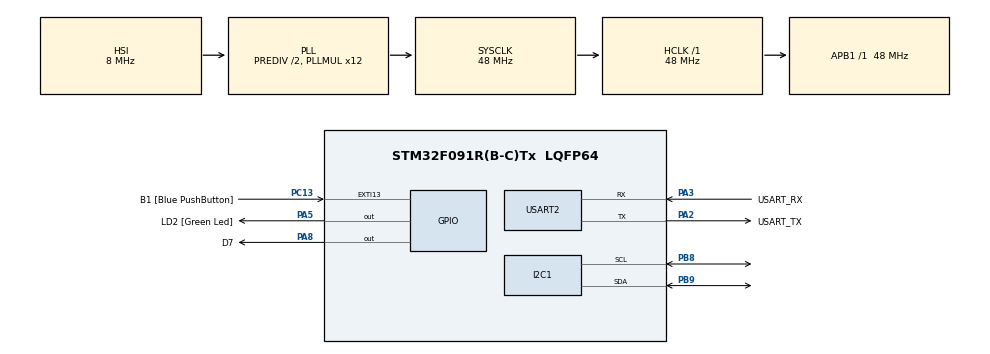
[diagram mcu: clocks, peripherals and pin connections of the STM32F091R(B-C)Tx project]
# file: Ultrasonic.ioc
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Mcu.Family=STM32F0
Mcu.Name=STM32F091R(B-C)Tx
Mcu.Package=LQFP64
PA13.GPIO_Label=TMS
PA13.Mode=Serial_Wire
PA13.Signal=SYS_SWDIO
PA14.GPIO_Label=TCK
PA14.Mode=Serial_Wire
PA14.Signal=SYS_SWCLK
PA2.GPIO_Label=USART_TX
PA2.GPIO_Mode=GPIO_MODE_AF_PP
PA2.GPIO_PuPd=GPIO_NOPULL
PA2.GPIO_Speed=GPIO_SPEED_FREQ_LOW
PA2.Mode=Asynchronous
PA2.Signal=USART2_TX
PA3.GPIO_Label=USART_RX
PA3.GPIO_Mode=GPIO_MODE_AF_PP
PA3.GPIO_PuPd=GPIO_NOPULL
PA3.GPIO_Speed=GPIO_SPEED_FREQ_LOW
PA3.Mode=Asynchronous
PA3.Signal=USART2_RX
PA5.GPIO_Label=LD2 [Green Led]
PA5.GPIO_Mode=GPIO_MODE_OUTPUT_PP
PA5.GPIO_PuPd=GPIO_NOPULL
PA5.GPIO_Speed=GPIO_SPEED_FREQ_LOW
PA5.Signal=GPIO_Output
PA8.GPIO_Label=D7
PA8.GPIO_ModeDefaultOutputPP=GPIO_MODE_OUTPUT_PP
PA8.Signal=GPIO_Output
PB8.Mode=I2C
PB8.Signal=I2C1_SCL
PB9.Mode=I2C
PB9.Signal=I2C1_SDA
PC13.GPIO_Label=B1 [Blue PushButton]
PC13.GPIO_ModeDefaultEXTI=GPIO_MODE_IT_FALLING
PC13.Signal=GPXTI13
PC14OSC32_IN.Mode=LSE-External-Oscillator
PC14OSC32_IN.Signal=RCC_OSC32_IN
PC15OSC32_OUT.Mode=LSE-External-Oscillator
PC15OSC32_OUT.Signal=RCC_OSC32_OUT
PF0-OSC_IN.Mode=HSE-External-Clock-Source
PF0-OSC_IN.Signal=RCC_OSC_IN
PF1-OSC_OUT.Signal=RCC_OSC_OUT
ProjectManager.HeapSize=0x200
ProjectManager.StackSize=0x400
ProjectManager.TargetToolchain=STM32CubeIDE
RCC.AHBFreq_Value=48000000
RCC.APB1Freq_Value=48000000
RCC.APB1TimFreq_Value=48000000
RCC.FLatency-AdvancedSettings=FLASH_LATENCY_1
RCC.HCLKFreq_Value=48000000
RCC.PLLDivider=RCC_PREDIV_DIV2
RCC.PLLMUL=RCC_PLL_MUL12
RCC.PREFETCH_ENABLE-AdvancedSettings=1
RCC.SYSCLKFreq_VALUE=48000000
RCC.SYSCLKSource=RCC_SYSCLKSOURCE_PLLCLK
TIM2.Prescaler=48-1
USART2.VirtualMode=VM_ASYNC
USART2.VirtualMode-Asynchronous=VM_ASYNC
VP_TIM2_VS_ClockSourceINT.Mode=Internal
board=NUCLEO-F091RC

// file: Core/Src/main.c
/* USER CODE BEGIN Header */
/**
  ******************************************************************************
  * @file           : main.c
  * @brief          : Main program body
  ******************************************************************************
  * @attention
  *
  * Copyright (c) 2024 STMicroelectronics.
  * All rights reserved.
  *
  * This software is licensed under terms that can be found in the LICENSE file
  * in the root directory of this software component.
  * If no LICENSE file comes with this software, it is provided AS-IS.
  *
  ******************************************************************************
  */
/* USER CODE END Header */
#include "main.h"
#include "i2c.h"
#include "tim.h"
#include "usart.h"
#include "gpio.h"

/* USER CODE BEGIN Includes */
#include <string.h>
#include <stdio.h>
#include "lib_lcd.h"
/* USER CODE END Includes */

/* USER CODE BEGIN PTD */
#define usTIM	TIM2 // timer pour cr er un delai en microsecondes
static rgb_lcd lcdData;
/* USER CODE END PTD */

/* USER CODE BEGIN PD */

void GPIO_INPUT(void)
{
	  GPIO_InitTypeDef GPIO_InitStruct = {0};
	  GPIO_InitStruct.Pin = LD2_Pin|GPIO_PIN_8;
	  GPIO_InitStruct.Mode = GPIO_MODE_INPUT;
	  GPIO_InitStruct.Pull = GPIO_NOPULL;
	  HAL_GPIO_Init(GPIOA, &GPIO_InitStruct);
}

uint32_t measureHighSignalDuration() {

	    uint32_t startTime = 0;
	    uint32_t endTime = 0;

	    // Attendre que le signal passe à l'état haut
	    while (HAL_GPIO_ReadPin(GPIOA, LD2_Pin|GPIO_PIN_8) == GPIO_PIN_RESET) {
	        // Mesurer le temps de début
	        startTime = TIM2->CNT;
	    }

	    // Attendre que le signal passe à l'état bas
	    while (HAL_GPIO_ReadPin(GPIOA, LD2_Pin|GPIO_PIN_8) == GPIO_PIN_SET) {
	        // Mesurer le temps de fin
	        endTime = TIM2->CNT;
	    }

	    // Calculer la durée de l'état haut en microsecondes
	    uint32_t duration = endTime - startTime;

	    return duration;
}

/* USER CODE END PD */

void SystemClock_Config(void);
/* USER CODE BEGIN PFP */

void usDelay(uint32_t uSec);  // d claration de la fonction qui permet d'avoir un delai en microsecondes

/* USER CODE END PFP */

/* USER CODE BEGIN 0 */
const float speedOfSound = 0.0340/2;   // vitesse du son
float distance; // variable ou stocker la distance

char uartBuf[100]; // buffer qui permet de transmettre au pc la distance calcul
char uartBuf1[100];
void configureInputSIGPin()
{
    GPIO_InitTypeDef GPIO_InitStruct = {0};
    GPIO_InitStruct.Pin = LD2_Pin|GPIO_PIN_8;
    GPIO_InitStruct.Mode = GPIO_MODE_INPUT; // Entrée
    GPIO_InitStruct.Pull = GPIO_NOPULL;
    HAL_GPIO_Init(GPIOA, &GPIO_InitStruct);
}

/* USER CODE END 0 */

int main(void)
{
  /* USER CODE BEGIN 1 */
  uint32_t numTicks = 0;  // variable utilise  pour calculer  le delai
  /* USER CODE END 1 */

  /* MCU Configuration--------------------------------------------------------*/

  /* Reset of all peripherals, Initializes the Flash interface and the Systick. */
  HAL_Init();

  /* Configure the system clock */
  SystemClock_Config();

  /* Initialize all configured peripherals */
  MX_GPIO_Init();
  MX_USART2_UART_Init();
  MX_I2C1_Init();
  MX_TIM2_Init();
  /* USER CODE BEGIN 2 */

    //DWT_Delay_Init();
    lcd_init(&hi2c1, &lcdData); // initialise le lcd
    lcd_position(&hi2c1,0,0);
    lcd_print(&hi2c1,"Bilna");
    reglagecouleur(0,0,255);
    HAL_Delay(3000);
    clearlcd();

  /* USER CODE END 2 */

  /* Infinite loop */
  while (1)
  {

    /* USER CODE BEGIN 3 */
	  HAL_Delay(1000);

	  	  //mettre le Trig a l' tat bas pendant 3us
	  	 	  		//HAL_GPIO_WritePin(TRIG_GPIO_Port, TRIG_Pin, GPIO_PIN_RESET);
	  	 	  		//usDelay(3);
	  	          MX_GPIO_Init();
	  	          HAL_GPIO_WritePin(TRIG_GPIO_Port, TRIG_Pin, GPIO_PIN_RESET);
	  	          usDelay(3);
	  	 	  		//*** commencer la mesure ***//
	  	 	  		//1. on maintien Trig   l' tat haut pendant 10us pour commencer le calcul
	  	 	  		HAL_GPIO_WritePin(TRIG_GPIO_Port, TRIG_Pin, GPIO_PIN_SET);
	  	 	  		usDelay(10);
	  	 	  		HAL_GPIO_WritePin(TRIG_GPIO_Port, TRIG_Pin, GPIO_PIN_RESET);

	  	 	  	    configureInputSIGPin();
	  	 	  	  //2. Attendre le front montant du pin Echo
	  	 	  	  	 	  		while(HAL_GPIO_ReadPin(TRIG_GPIO_Port, TRIG_Pin) == GPIO_PIN_RESET);

	  	 	  	  	 	  		//3. Commencer   mesurer la largeur d'impulsion Echo en usec
	  	 	  	  	 	  		numTicks = 0;
	  	 	  	  	 	  		while(HAL_GPIO_ReadPin(TRIG_GPIO_Port, TRIG_Pin) == GPIO_PIN_SET)
	  	 	  	  	 	  		{
	  	 	  	  	 	  			numTicks++;
	  	 	  	  	 	  			usDelay(2); //2.8us en vrai car la fonction utilis  ne donne pas exactement 2us
	  	 	  	  	 	  		};

	  	 	  	  	 	  		//4. calcule de la distance en cm
	  	 	  	  	 	  		distance = (numTicks + 0.0f)*2.8*speedOfSound+0.4;

	  	 	  	  	 	  		//5. transmettre la distance vers le pc pour l'afficher
	  	 	  	  	 	  		sprintf(uartBuf, "Dis  = %.1f ",  distance);
	  	 	  	  	 	        lcd_position(&hi2c1,0,0);
	  	 	  	  	 	   	    lcd_print(&hi2c1,uartBuf);

	  	 	  	          	   lcd_position(&hi2c1,14,0);
	  	 	  	          	   lcd_print(&hi2c1, "cm");
	  	 	  	  	           lcd_print(&hi2c1,uartBuf);

	  	 	  	  	 	  		HAL_UART_Transmit(&huart2, (uint8_t *)uartBuf, strlen(uartBuf), 100);

	  	 	  	  	 	  		//HAL_Delay(1000);

  /* USER CODE END 3 */
}

void SystemClock_Config(void)
{
  RCC_OscInitTypeDef RCC_OscInitStruct = {0};
  RCC_ClkInitTypeDef RCC_ClkInitStruct = {0};
  RCC_PeriphCLKInitTypeDef PeriphClkInit = {0};

  /** Initializes the RCC Oscillators according to the specified parameters
  * in the RCC_OscInitTypeDef structure.
  */
  RCC_OscInitStruct.OscillatorType = RCC_OSCILLATORTYPE_HSI;
  RCC_OscInitStruct.HSIState = RCC_HSI_ON;
  RCC_OscInitStruct.HSICalibrationValue = RCC_HSICALIBRATION_DEFAULT;
  RCC_OscInitStruct.PLL.PLLState = RCC_PLL_ON;
  RCC_OscInitStruct.PLL.PLLSource = RCC_PLLSOURCE_HSI;
  RCC_OscInitStruct.PLL.PLLMUL = RCC_PLL_MUL12;
  RCC_OscInitStruct.PLL.PREDIV = RCC_PREDIV_DIV2;
  if (HAL_RCC_OscConfig(&RCC_OscInitStruct) != HAL_OK)
  {
    Error_Handler();
  }

  /** Initializes the CPU, AHB and APB buses clocks
  */
  RCC_ClkInitStruct.ClockType = RCC_CLOCKTYPE_HCLK|RCC_CLOCKTYPE_SYSCLK
                              |RCC_CLOCKTYPE_PCLK1;
  RCC_ClkInitStruct.SYSCLKSource = RCC_SYSCLKSOURCE_PLLCLK;
  RCC_ClkInitStruct.AHBCLKDivider = RCC_SYSCLK_DIV1;
  RCC_ClkInitStruct.APB1CLKDivider = RCC_HCLK_DIV1;

  if (HAL_RCC_ClockConfig(&RCC_ClkInitStruct, FLASH_LATENCY_1) != HAL_OK)
  {
    Error_Handler();
  }
  PeriphClkInit.PeriphClockSelection = RCC_PERIPHCLK_USART2|RCC_PERIPHCLK_I2C1;
  PeriphClkInit.Usart2ClockSelection = RCC_USART2CLKSOURCE_PCLK1;
  PeriphClkInit.I2c1ClockSelection = RCC_I2C1CLKSOURCE_HSI;
  if (HAL_RCCEx_PeriphCLKConfig(&PeriphClkInit) != HAL_OK)
  {
    Error_Handler();
  }
}

/* USER CODE BEGIN 4 */
void usDelay(uint32_t uSec) // fonction qui nous sert a cr er un d lai en us
{
	if(uSec < 2) uSec = 2;
	usTIM->ARR = uSec - 1; 	/*sets the value in the auto-reload register*/
	usTIM->EGR = 1; 			/*Re-initialises the timer*/
	usTIM->SR &= ~1; 		//Resets the flag
	usTIM->CR1 |= 1; 		//Enables the counter
	while((usTIM->SR&0x0001) != 1);
	usTIM->SR &= ~(0x0001);
}

/* USER CODE END 4 */

void Error_Handler(void)
{
  __disable_irq();
  while (1)
  {
  }
}
